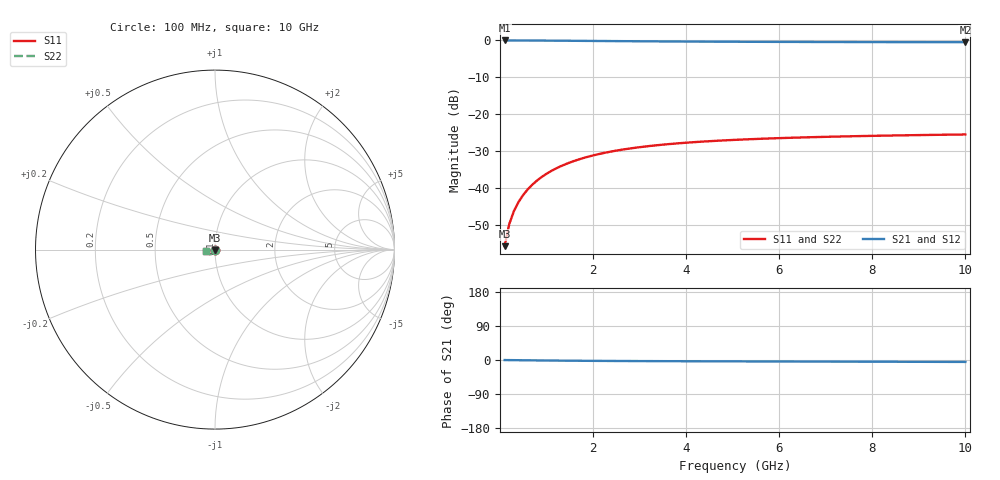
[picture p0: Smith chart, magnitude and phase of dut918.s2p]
! Touchstone file exported from HFSS 2024.1.0
!  File:  C:/UserFiles/LocalFiles/RDL_TSV_Batchsim/temp_TSV1_918_1779945909.aedt
!  Generated:  01:29:19 PM May 28, 2026
!  Design:  TSV1
!  Project:  temp_TSV1_918_1779945909
!  Setup:  Setup1
!  Solution:  Sweep
! Variables:
!  dtsv = 13.63um
!  hbump = 3um
!  htsv = 77.58um
!  lrdl = 252.1521522um
!  p = 40
!  p1 = 55.85um
!  t = 500um
!  trdl = 3um
!  wrdl = 24.89489489um
# GHz S MA R 50.000000
! Terminal data exported
! Port[1] = TSV22_T1
! Port[2] = TSV22_T2
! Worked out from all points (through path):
!   100 points, 100 MHz to 10 GHz, reference 50 ohm
!   highest |S21| = 0.00 dB at 100 MHz (marker M1); lowest = -0.5 dB at 10 GHz (marker M2)
!   lowest |S11| = -55.8 dB at 100 MHz (marker M3), VSWR 1.00, Z = 50 - j0.161 ohm
!   |S11| at or under -10 dB: start of sweep to end of sweep
!   |S22| runs from -55.8 to -25.5 dB; largest |S21 - S12| = 4.3e-15
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0.1  0.001614 -89.0  0.9999 -0.1  0.9999 -0.1  0.001614 -89.0
! Gamma 0 0 0 0
! Port Impedance 50 0 50 0
0.2  0.003225 -92.2  0.9997 -0.3  0.9997 -0.3  0.003225 -92.2
0.3  0.004833 -94.5  0.9994 -0.4  0.9994 -0.4  0.004833 -94.5
0.4  0.006431 -96.6  0.999 -0.6  0.999 -0.6  0.006431 -96.6
0.5  0.008012 -98.6  0.9985 -0.7  0.9985 -0.7  0.008012 -98.6
0.6  0.009571 -100.6  0.998 -0.8  0.998 -0.8  0.009571 -100.6
0.7  0.0111 -102.5  0.9973 -1.0  0.9973 -1.0  0.0111 -102.5
0.8  0.0126 -104.4  0.9966 -1.1  0.9966 -1.1  0.0126 -104.4
0.9  0.01407 -106.3  0.9958 -1.2  0.9958 -1.2  0.01407 -106.3
1.1  0.01689 -109.9  0.994 -1.4  0.994 -1.4  0.01689 -109.9
1.4  0.02081 -114.9  0.9911 -1.7  0.9911 -1.7  0.02081 -114.9
1.6  0.02321 -118.1  0.9889 -1.9  0.9889 -1.9  0.02321 -118.1
1.8  0.02544 -121.1  0.9868 -2.1  0.9868 -2.1  0.02544 -121.1
2.1  0.02847 -125.3  0.9835 -2.3  0.9835 -2.3  0.02847 -125.3
2.5  0.03196 -130.4  0.9793 -2.6  0.9793 -2.6  0.03196 -130.4
2.9  0.03492 -134.9  0.9754 -2.8  0.9754 -2.8  0.03492 -134.9
3.4  0.03798 -139.9  0.9711 -3.0  0.9711 -3.0  0.03798 -139.9
4.2  0.04177 -146.6  0.9652 -3.3  0.9652 -3.3  0.04177 -146.6
5.1  0.04489 -152.7  0.9601 -3.6  0.9601 -3.6  0.04489 -152.7
6.7  0.04865 -161.4  0.9537 -4.1  0.9537 -4.1  0.04865 -161.4
8.4  0.05124 -168.4  0.9492 -4.6  0.9492 -4.6  0.05124 -168.4
10  0.05297 -173.9  0.9464 -5.1  0.9464 -5.1  0.05297 -173.9
